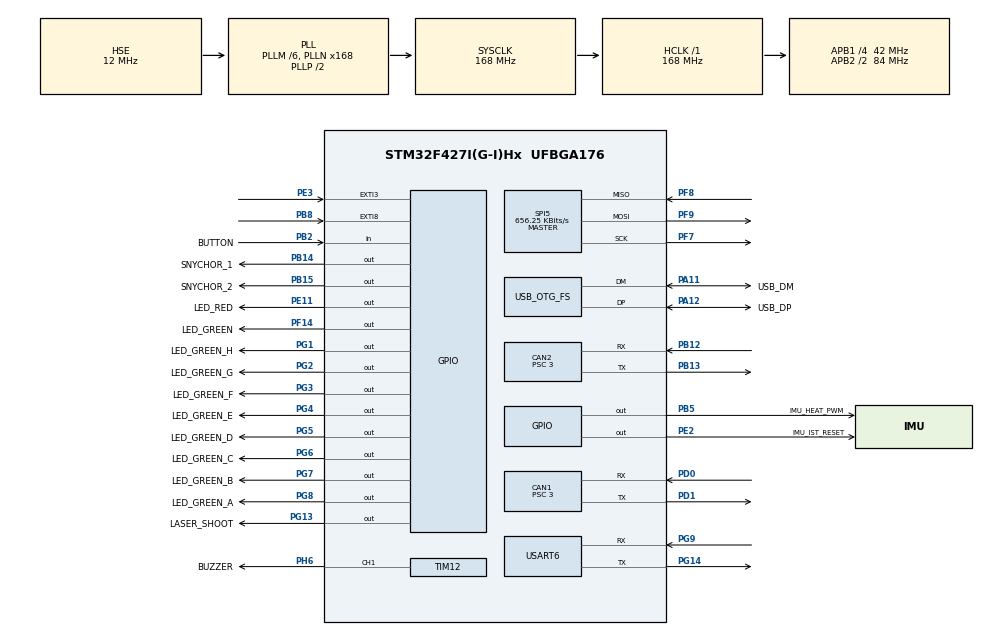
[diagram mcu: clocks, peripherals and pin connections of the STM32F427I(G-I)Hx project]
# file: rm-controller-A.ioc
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CAN1.BS1=CAN_BS1_10TQ
CAN1.BS2=CAN_BS2_3TQ
CAN1.CalculateBaudRate=1000000
CAN1.CalculateTimeBit=999.99
CAN1.CalculateTimeQuantum=71.42857142857143
CAN1.Prescaler=3
CAN2.BS1=CAN_BS1_10TQ
CAN2.BS2=CAN_BS2_3TQ
CAN2.CalculateBaudRate=1000000
CAN2.CalculateTimeBit=999.99
CAN2.CalculateTimeQuantum=71.42857142857143
CAN2.Prescaler=3
Dma.Request0=USART6_RX
Dma.Request1=USART6_TX
Dma.USART6_RX.0.Direction=DMA_PERIPH_TO_MEMORY
Dma.USART6_RX.0.FIFOMode=DMA_FIFOMODE_DISABLE
Dma.USART6_RX.0.Instance=DMA2_Stream1
Dma.USART6_RX.0.MemDataAlignment=DMA_MDATAALIGN_BYTE
Dma.USART6_RX.0.MemInc=DMA_MINC_ENABLE
Dma.USART6_RX.0.Mode=DMA_NORMAL
Dma.USART6_RX.0.PeriphDataAlignment=DMA_PDATAALIGN_BYTE
Dma.USART6_RX.0.PeriphInc=DMA_PINC_DISABLE
Dma.USART6_RX.0.Priority=DMA_PRIORITY_LOW
Dma.USART6_TX.1.Direction=DMA_MEMORY_TO_PERIPH
Dma.USART6_TX.1.FIFOMode=DMA_FIFOMODE_DISABLE
Dma.USART6_TX.1.Instance=DMA2_Stream6
Dma.USART6_TX.1.MemDataAlignment=DMA_MDATAALIGN_BYTE
Dma.USART6_TX.1.MemInc=DMA_MINC_ENABLE
Dma.USART6_TX.1.Mode=DMA_NORMAL
Dma.USART6_TX.1.PeriphDataAlignment=DMA_PDATAALIGN_BYTE
Dma.USART6_TX.1.PeriphInc=DMA_PINC_DISABLE
Dma.USART6_TX.1.Priority=DMA_PRIORITY_LOW
FREERTOS.INCLUDE_eTaskGetState=1
FREERTOS.INCLUDE_uxTaskGetStackHighWaterMark=1
FREERTOS.INCLUDE_vTaskDelayUntil=1
FREERTOS.INCLUDE_xQueueGetMutexHolder=1
FREERTOS.INCLUDE_xSemaphoreGetMutexHolder=0
FREERTOS.Tasks01=defaultTask,16,5000,StartDefaultTask,Default,NULL,Dynamic,NULL,NULL
FREERTOS.configMINIMAL_STACK_SIZE=5000
FREERTOS.configTOTAL_HEAP_SIZE=50000
FREERTOS.configUSE_COUNTING_SEMAPHORES=1
FREERTOS.configUSE_RECURSIVE_MUTEXES=1
FREERTOS.configUSE_TIMERS=1
Mcu.Family=STM32F4
Mcu.Name=STM32F427I(G-I)Hx
Mcu.Package=UFBGA176
NVIC.CAN1_RX0_IRQn=true\:5\:0\:false\:false\:true\:true\:true\:true
NVIC.CAN2_RX0_IRQn=true\:5\:0\:false\:false\:true\:true\:true\:true
NVIC.DMA2_Stream1_IRQn=true\:5\:0\:false\:false\:true\:true\:false\:true
NVIC.DMA2_Stream6_IRQn=true\:5\:0\:false\:false\:true\:true\:false\:true
NVIC.OTG_FS_IRQn=true\:5\:0\:false\:false\:true\:true\:false\:true
NVIC.PriorityGroup=NVIC_PRIORITYGROUP_4
NVIC.TIM1_UP_TIM10_IRQn=true\:15\:0\:true\:false\:true\:false\:false\:true
NVIC.TimeBase=TIM1_UP_TIM10_IRQn
NVIC.TimeBaseIP=TIM1
NVIC.USART6_IRQn=true\:5\:0\:false\:false\:true\:true\:true\:true
PA10.GPIO_Label=USB_ID
PA10.Signal=USB_OTG_FS_ID
PA11.GPIO_Label=USB_DM
PA11.Mode=Device_Only
PA11.Signal=USB_OTG_FS_DM
PA12.GPIO_Label=USB_DP
PA12.Mode=Device_Only
PA12.Signal=USB_OTG_FS_DP
PA13.Mode=Serial_Wire
PA13.Signal=SYS_JTMS-SWDIO
PA14.Mode=Serial_Wire
PA14.Signal=SYS_JTCK-SWCLK
PB12.Mode=CAN_Activate
PB12.Signal=CAN2_RX
PB13.Mode=CAN_Activate
PB13.Signal=CAN2_TX
PB14.GPIO_Label=SNYCHOR_1
PB14.Signal=GPIO_Output
PB15.GPIO_Label=SNYCHOR_2
PB15.Signal=GPIO_Output
PB2/BOOT1.GPIO_Label=BUTTON
PB2/BOOT1.Signal=GPIO_Input
PB5.GPIO_Label=IMU_HEAT_PWM
PB5.Signal=GPIO_Output
PB8.GPIO_ModeDefaultEXTI=GPIO_MODE_IT_FALLING
PB8.GPIO_PuPd=GPIO_PULLUP
PB8.Signal=GPXTI8
PD0.Mode=CAN_Activate
PD0.Signal=CAN1_RX
PD1.Mode=CAN_Activate
PD1.Signal=CAN1_TX
PD5.GPIO_Label=BL_TX
PD5.Signal=USART2_TX
PD6.GPIO_Label=BL_RX
PD6.Signal=USART2_RX
PD8.Signal=USART3_TX
PD9.Signal=USART3_RX
PE0.Signal=UART8_RX
PE1.Signal=UART8_TX
PE11.GPIO_Label=LED_RED
PE11.PinState=GPIO_PIN_SET
PE11.Signal=GPIO_Output
PE2.GPIO_Label=IMU_IST_RESET
PE2.Signal=GPIO_Output
PE3.GPIO_ModeDefaultEXTI=GPIO_MODE_IT_FALLING
PE3.GPIO_PuPd=GPIO_PULLUP
PE3.Signal=GPXTI3
PE7.Signal=UART7_RX
PE8.Signal=UART7_TX
PF14.GPIO_Label=LED_GREEN
PF14.Signal=GPIO_Output
PF6.Signal=SPI5_NSS
PF7.Mode=Full_Duplex_Master
PF7.Signal=SPI5_SCK
PF8.Mode=Full_Duplex_Master
PF8.Signal=SPI5_MISO
PF9.Mode=Full_Duplex_Master
PF9.Signal=SPI5_MOSI
PG1.GPIO_Label=LED_GREEN_H
PG1.PinState=GPIO_PIN_SET
PG1.Signal=GPIO_Output
PG13.GPIO_Label=LASER_SHOOT
PG13.Signal=GPIO_Output
PG14.Mode=Asynchronous
PG14.Signal=USART6_TX
PG2.GPIO_Label=LED_GREEN_G
PG2.Signal=GPIO_Output
PG3.GPIO_Label=LED_GREEN_F
PG3.PinState=GPIO_PIN_SET
PG3.Signal=GPIO_Output
PG4.GPIO_Label=LED_GREEN_E
PG4.PinState=GPIO_PIN_SET
PG4.Signal=GPIO_Output
PG5.GPIO_Label=LED_GREEN_D
PG5.PinState=GPIO_PIN_SET
PG5.Signal=GPIO_Output
PG6.GPIO_Label=LED_GREEN_C
PG6.PinState=GPIO_PIN_SET
PG6.Signal=GPIO_Output
PG7.GPIO_Label=LED_GREEN_B
PG7.PinState=GPIO_PIN_SET
PG7.Signal=GPIO_Output
PG8.GPIO_Label=LED_GREEN_A
PG8.PinState=GPIO_PIN_SET
PG8.Signal=GPIO_Output
PG9.Mode=Asynchronous
PG9.Signal=USART6_RX
PH0/OSC_IN.Mode=HSE-External-Oscillator
PH0/OSC_IN.Signal=RCC_OSC_IN
PH1/OSC_OUT.Mode=HSE-External-Oscillator
PH1/OSC_OUT.Signal=RCC_OSC_OUT
PH6.GPIO_Label=BUZZER
PH6.Signal=S_TIM12_CH1
ProjectManager.HeapSize=0x1000
ProjectManager.StackSize=0x1000
ProjectManager.TargetToolchain=Makefile
RCC.48MHZClocksFreq_Value=48000000
RCC.AHBFreq_Value=168000000
RCC.APB1CLKDivider=RCC_HCLK_DIV4
RCC.APB1Freq_Value=42000000
RCC.APB1TimFreq_Value=84000000
RCC.APB2CLKDivider=RCC_HCLK_DIV2
RCC.APB2Freq_Value=84000000
RCC.APB2TimFreq_Value=168000000
RCC.CortexFreq_Value=168000000
RCC.HCLKFreq_Value=168000000
RCC.HSE_VALUE=12000000
RCC.HSI_VALUE=16000000
RCC.LSE_VALUE=32768
RCC.PLLM=6
RCC.PLLMUL=RCC_PLL_MUL9
RCC.PLLN=168
RCC.PLLQ=7
RCC.PLLSourceVirtual=RCC_PLLSOURCE_HSE
RCC.PRESCALERUSB=RCC_USBCLKSOURCE_PLL_DIV1_5
RCC.SYSCLKFreq_VALUE=168000000
RCC.SYSCLKSource=RCC_SYSCLKSOURCE_PLLCLK
RCC.SYSCLKSourceVirtual=RCC_SYSCLKSOURCE_PLLCLK
RCC.USBFreq_Value=48000000
RCC.VCOOutputFreq_Value=336000000
SH.S_TIM12_CH1.0=TIM12_CH1,PWM Generation1 CH1
SPI5.BaudRatePrescaler=SPI_BAUDRATEPRESCALER_128
SPI5.CalculateBaudRate=656.25 KBits/s
SPI5.Direction=SPI_DIRECTION_2LINES
SPI5.Mode=SPI_MODE_MASTER
SPI5.VirtualType=VM_MASTER
TIM12.Channel-PWM\ Generation1\ CH1=TIM_CHANNEL_1
TIM12.OCMode_PWM-PWM\ Generation1\ CH1=TIM_OCMODE_PWM1
USART6.VirtualMode=VM_ASYNC
USB_DEVICE.CLASS_NAME_FS=CDC
USB_DEVICE.MANUFACTURER_STRING-CDC_FS=Manufacturer String
USB_DEVICE.PRODUCT_STRING_CDC_FS=Product String
USB_DEVICE.USBD_DEBUG_LEVEL-CDC_FS=3
USB_DEVICE.VirtualMode-CDC_FS=Cdc
USB_DEVICE.VirtualModeFS=Cdc_FS
USB_OTG_FS.VirtualMode=Device_Only
VP_FREERTOS_VS_CMSIS_V2.Mode=CMSIS_V2
VP_SYS_VS_tim1.Mode=TIM1
VP_USB_DEVICE_VS_USB_DEVICE_CDC_FS.Mode=CDC_FS
board=Robomaster-Development-A

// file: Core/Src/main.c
/* USER CODE BEGIN Header */
/**
  ******************************************************************************
  * @file           : main.c
  * @brief          : Main program body
  ******************************************************************************
  * @attention
  *
  * <h2><center>&copy; Copyright (c) 2021 STMicroelectronics.
  * All rights reserved.</center></h2>
  *
  * This software component is licensed by ST under Ultimate Liberty license
  * SLA0044, the "License"; You may not use this file except in compliance with
  * the License. You may obtain a copy of the License at:
  *                             www.st.com/SLA0044
  *
  ******************************************************************************
  */
/* USER CODE END Header */
#include "main.h"
#include "cmsis_os.h"
#include "can.h"
#include "dma.h"
#include "spi.h"
#include "tim.h"
#include "usart.h"
#include "usb_device.h"
#include "gpio.h"

/* USER CODE BEGIN Includes */
#include "tool/buzzer.h"

/* USER CODE END Includes */

/* USER CODE BEGIN PV */
extern uint8_t UART_RxBuffer[2048];
/* USER CODE END PV */

void SystemClock_Config(void);
void MX_FREERTOS_Init(void);
/* USER CODE BEGIN PFP */
// #define BUFSIZE 4096
// char buffer[BUFSIZE];
// extern struct netif gnetif;
// UART_HandleTypeDef *printf_uart = &huart6;
/* USER CODE END PFP */

/* USER CODE BEGIN 0 */

extern void initialise_monitor_handles(void);

/* USER CODE END 0 */

int main(void)
{
  /* USER CODE BEGIN 1 */
  // initialise_monitor_handles();
  // printf("hello world");
  /* USER CODE END 1 */

  /* MCU Configuration--------------------------------------------------------*/

  /* Reset of all peripherals, Initializes the Flash interface and the Systick. */
  HAL_Init();

  /* Configure the system clock */
  SystemClock_Config();

  /* Initialize all configured peripherals */
  MX_GPIO_Init();
  MX_DMA_Init();
  MX_USART6_UART_Init();
  MX_CAN1_Init();
  MX_CAN2_Init();
  MX_TIM12_Init();
  MX_SPI5_Init();
  /* USER CODE BEGIN 2 */

  buzzerStartUp();
  /* USER CODE END 2 */

  /* Init scheduler */
  osKernelInitialize();  /* Call init function for freertos objects (in freertos.c) */
  MX_FREERTOS_Init();
  /* Start scheduler */
  osKernelStart();

  /* We should never get here as control is now taken by the scheduler */
  /* Infinite loop */
  while (1)
  {

    /* USER CODE BEGIN 3 */
    printf("help\n");
    // HAL_Delay(1000);
  }
  /* USER CODE END 3 */
}

void SystemClock_Config(void)
{
  RCC_OscInitTypeDef RCC_OscInitStruct = {0};
  RCC_ClkInitTypeDef RCC_ClkInitStruct = {0};

  /** Configure the main internal regulator output voltage
  */
  __HAL_RCC_PWR_CLK_ENABLE();
  __HAL_PWR_VOLTAGESCALING_CONFIG(PWR_REGULATOR_VOLTAGE_SCALE1);
  /** Initializes the RCC Oscillators according to the specified parameters
  * in the RCC_OscInitTypeDef structure.
  */
  RCC_OscInitStruct.OscillatorType = RCC_OSCILLATORTYPE_HSE;
  RCC_OscInitStruct.HSEState = RCC_HSE_ON;
  RCC_OscInitStruct.PLL.PLLState = RCC_PLL_ON;
  RCC_OscInitStruct.PLL.PLLSource = RCC_PLLSOURCE_HSE;
  RCC_OscInitStruct.PLL.PLLM = 6;
  RCC_OscInitStruct.PLL.PLLN = 168;
  RCC_OscInitStruct.PLL.PLLP = RCC_PLLP_DIV2;
  RCC_OscInitStruct.PLL.PLLQ = 7;
  if (HAL_RCC_OscConfig(&RCC_OscInitStruct) != HAL_OK)
  {
    Error_Handler();
  }
  /** Initializes the CPU, AHB and APB buses clocks
  */
  RCC_ClkInitStruct.ClockType = RCC_CLOCKTYPE_HCLK|RCC_CLOCKTYPE_SYSCLK
                              |RCC_CLOCKTYPE_PCLK1|RCC_CLOCKTYPE_PCLK2;
  RCC_ClkInitStruct.SYSCLKSource = RCC_SYSCLKSOURCE_PLLCLK;
  RCC_ClkInitStruct.AHBCLKDivider = RCC_SYSCLK_DIV1;
  RCC_ClkInitStruct.APB1CLKDivider = RCC_HCLK_DIV4;
  RCC_ClkInitStruct.APB2CLKDivider = RCC_HCLK_DIV2;

  if (HAL_RCC_ClockConfig(&RCC_ClkInitStruct, FLASH_LATENCY_5) != HAL_OK)
  {
    Error_Handler();
  }
}

void HAL_TIM_PeriodElapsedCallback(TIM_HandleTypeDef *htim)
{
  if (htim->Instance == TIM1) {
    HAL_IncTick();
  }
}

void Error_Handler(void)
{
  __disable_irq();
  while (1)
  {
  }
}

#ifdef  USE_FULL_ASSERT
/**
  * @brief  Reports the name of the source file and the source line number
  *         where the assert_param error has occurred.
  * @param  file: pointer to the source file name
  * @param  line: assert_param error line source number
  * @retval None
  */
void assert_failed(uint8_t *file, uint32_t line)
{
  /* USER CODE BEGIN 6 */
  /* User can add his own implementation to report the file name and line number, */
  printf("Wrong parameters value: file %s on line %d\r\n", file, line);
  /* USER CODE END 6 */
}
#endif /* USE_FULL_ASSERT */

/************************ (C) COPYRIGHT STMicroelectronics *****END OF FILE****/

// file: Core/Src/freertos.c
/* USER CODE BEGIN Header */
/**
  ******************************************************************************
  * File Name          : freertos.c
  * Description        : Code for freertos applications
  ******************************************************************************
  * @attention
  *
  * <h2><center>&copy; Copyright (c) 2021 STMicroelectronics.
  * All rights reserved.</center></h2>
  *
  * This software component is licensed by ST under Ultimate Liberty license
  * SLA0044, the "License"; You may not use this file except in compliance with
  * the License. You may obtain a copy of the License at:
  *                             www.st.com/SLA0044
  *
  ******************************************************************************
  */
/* USER CODE END Header */

#include "FreeRTOS.h"
#include "task.h"
#include "main.h"
#include "cmsis_os.h"

/* USER CODE BEGIN Includes */
#include <stdbool.h>
#include "freertos/allocators.h"
#include "cmsis_os2.h"
#include <usart.h>

#include <rcl/rcl.h>
#include <rmw_microxrcedds_c/config.h>
#include <ucdr/microcdr.h>
#include <uxr/client/client.h>

#include <rmw_microros/rmw_microros.h>

#include <microros_transports.h>
#include "app/pingpong.h"
#include "app/motor_control.h"
#include "app/echo_control.h"
#include "app/device_monitor.h"
#include "dji/detect_task.h"
#include "tool/pid_mcu.h"

/* USER CODE END Includes */

/* Definitions for defaultTask */
osThreadId_t defaultTaskHandle;
const osThreadAttr_t defaultTask_attributes = {
  .name = "defaultTask",
  .stack_size = 1000,
  .priority = (osPriority_t) osPriorityNormal,
};

void StartDefaultTask(void *argument);

extern void MX_USB_DEVICE_Init(void);
void MX_FREERTOS_Init(void); /* (MISRA C 2004 rule 8.1) */

void MX_FREERTOS_Init(void) {

  /* Create the thread(s) */
  /* creation of defaultTask */
  defaultTaskHandle = osThreadNew(StartDefaultTask, NULL, &defaultTask_attributes);

}

void StartDefaultTask(void *argument)
{
  /* init code for USB_DEVICE */
  MX_USB_DEVICE_Init();
  /* USER CODE BEGIN StartDefaultTask */
  // printf("Hello I'm here!\n");

  /* Infinite loop */
  bool availableNetwork = false;

#ifdef RMW_UXRCE_TRANSPORT_CUSTOM
  availableNetwork = true;
  rmw_uros_set_custom_transport(
    true,
    (void *) NULL,
    CDCUxrOpen,
    CDCUxrClose,
    CDCUxrWrite,
    CDCUxrRead);
#elif defined(RMW_UXRCE_TRANSPORT_UDP)
  printf("Ethernet Initialization\r\n");

  // Waiting for an IP
  printf("Waiting for IP\r\n");
  int retries = 0;
  while (gnetif.ip_addr.addr == 0 && retries < 10) {
    osDelay(500);
    retries++;
  };

  availableNetwork = (gnetif.ip_addr.addr != 0);
  if (availableNetwork) {
    printf("IP: %s\r\n", ip4addr_ntoa(&gnetif.ip_addr));
  } else {
    printf("Impossible to retrieve an IP\n");
  }
#endif

  // Launch app thread when IP configured
  rcl_allocator_t freeRTOS_allocator = rcutils_get_zero_initialized_allocator();
  freeRTOS_allocator.allocate = __freertos_allocate;
  freeRTOS_allocator.deallocate = __freertos_deallocate;
  freeRTOS_allocator.reallocate = __freertos_reallocate;
  freeRTOS_allocator.zero_allocate = __freertos_zero_allocate;

  if (!rcutils_set_default_allocator(&freeRTOS_allocator))
  {
    printf("Error on default allocators (line %d)\n", __LINE__);
  }

  osDelay(100);
  osThreadAttr_t attributes;
  memset(&attributes, 0x0, sizeof(osThreadAttr_t));
  attributes.stack_size = 5000;
  attributes.priority = (osPriority_t)osPriorityNormal;
  attributes.name = "microROS_app";
  osThreadNew(appMain, NULL, &attributes);
  //osDelay(500);
  attributes.name = "motor";
  osThreadNew(motorControl, NULL, &attributes);
  attributes.name = "echo";
  osThreadNew(echoControl, NULL, &attributes);
  attributes.name = "monitor";
  osThreadNew(deviceMonitor, NULL, &attributes);

  char ptrTaskList[500];
  vTaskList(ptrTaskList);
  printf("**********************************\n");
  printf("Task  State   Prio    Stack    Num\n");
  printf("**********************************\n");
  printf(ptrTaskList);
  printf("**********************************\n");

  //TaskHandle_t xHandle;
  //xHandle = xTaskGetHandle("microROS_app");

  //HAL_GPIO_WritePin(LED_GREEN_GPIO_Port, LED_GREEN_Pin, GPIO_PIN_SET); // on
  while (1)
  {
    osDelay(200);
  }
  /* USER CODE END StartDefaultTask */
}

/************************ (C) COPYRIGHT STMicroelectronics *****END OF FILE****/
